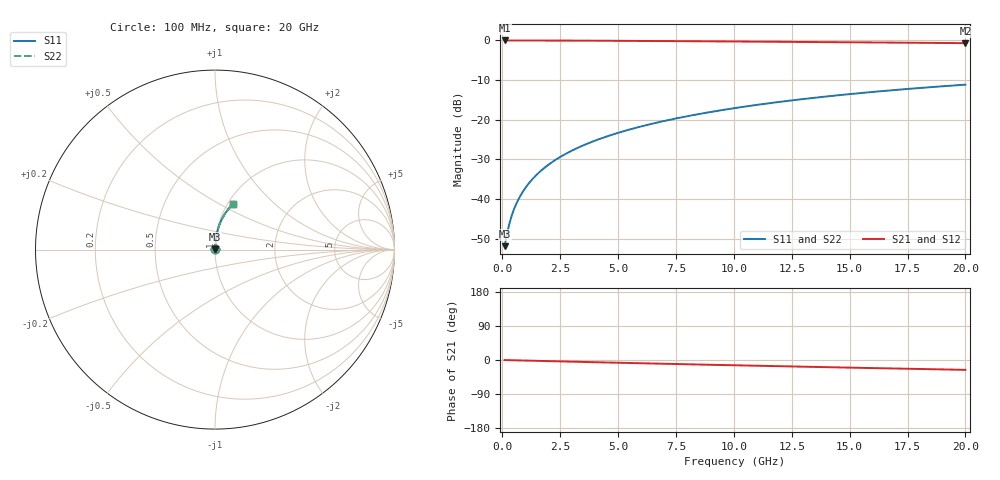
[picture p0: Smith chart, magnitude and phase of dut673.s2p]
! Touchstone file exported from HFSS 2024.1.0
!  File:  C:/UserFiles/LocalFiles/RDL_TSV_Batchsim/temp_RDL_bottom_673_1779786257.aedt
!  Generated:  05:06:46 PM May 26, 2026
!  Design:  RDL_bottom
!  Project:  temp_RDL_bottom_673_1779786257
!  Setup:  Setup1
!  Solution:  Sweep
! Variables:
!  dtsv = 10.80580581um
!  hbump = 3um
!  htsv = 56.65um
!  ldown = 355.12um
!  lrdl = 100um
!  p = 40
!  p1 = 42.15um
!  rhole = 1um
!  t = 450um
!  tdown = 3.84um
!  trdl = 3.915915916um
!  wdown = 17.05um
!  wrdl = 20um
# GHz S MA R 50.000000
! Terminal data exported
! Port[1] = RDL1_T1
! Port[2] = RDL1_T2
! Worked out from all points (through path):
!   200 points, 100 MHz to 20 GHz, reference 50 ohm
!   highest |S21| = -0.02 dB at 100 MHz (marker M1); lowest = -0.7 dB at 20 GHz (marker M2)
!   group delay of S21, straight-line fit = 3.59 ps
!   lowest |S11| = -51.9 dB at 100 MHz (marker M3), VSWR 1.01, Z = 50.2 + j0.145 ohm
!   |S11| at or under -10 dB: start of sweep to end of sweep
!   |S22| runs from -51.9 to -11.2 dB; largest |S21 - S12| = 5e-15
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0.1  0.002534 34.8  0.9979 -0.2  0.9979 -0.2  0.002534 34.8
! Gamma 0 0 0 0
! Port Impedance 50 0 50 0
0.2  0.003581 53.1  0.9978 -0.3  0.9978 -0.3  0.003581 53.1
0.3  0.004796 62.3  0.9977 -0.5  0.9977 -0.5  0.004796 62.3
0.4  0.006055 67.6  0.9976 -0.6  0.9976 -0.6  0.006055 67.6
0.5  0.007329 71.1  0.9975 -0.8  0.9975 -0.8  0.007329 71.1
0.6  0.00861 73.5  0.9975 -0.9  0.9975 -0.9  0.00861 73.5
0.8  0.01119 76.9  0.9973 -1.2  0.9973 -1.2  0.01119 76.9
1.1  0.01512 79.8  0.997 -1.6  0.997 -1.6  0.01512 79.8
1.3  0.01775 81.1  0.9968 -1.9  0.9968 -1.9  0.01775 81.1
1.6  0.02173 82.3  0.9964 -2.4  0.9964 -2.4  0.02173 82.3
2.1  0.02842 83.5  0.9956 -3.1  0.9956 -3.1  0.02842 83.5
2.7  0.03651 84.3  0.9945 -4.0  0.9945 -4.0  0.03651 84.3
3.5  0.0474 84.6  0.9925 -5.1  0.9925 -5.1  0.0474 84.6
4.2  0.05703 84.5  0.9906 -6.1  0.9906 -6.1  0.05703 84.5
5  0.06814 84.3  0.988 -7.3  0.988 -7.3  0.06814 84.3
5.9  0.08077 83.8  0.9849 -8.5  0.9849 -8.5  0.08076 83.8
6.8  0.09351 83.1  0.9816 -9.7  0.9816 -9.7  0.0935 83.1
8.4  0.1164 81.7  0.9752 -11.9  0.9752 -11.9  0.1164 81.7
10.1  0.1408 80.0  0.9681 -14.1  0.9681 -14.1  0.1407 80.0
13.4  0.1877 76.2  0.9536 -18.2  0.9536 -18.2  0.1877 76.1
16.7  0.2332 72.1  0.9385 -22.2  0.9385 -22.2  0.2332 72.1
20  0.2764 68.1  0.9227 -26.0  0.9227 -26.0  0.2764 68.1
